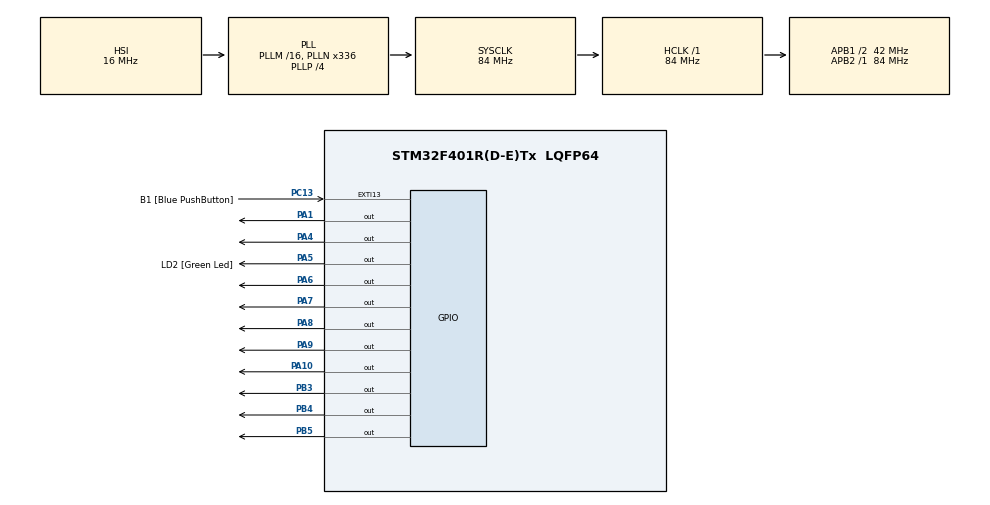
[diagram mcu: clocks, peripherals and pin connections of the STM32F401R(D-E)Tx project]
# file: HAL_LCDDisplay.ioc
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Mcu.Family=STM32F4
Mcu.Name=STM32F401R(D-E)Tx
Mcu.Package=LQFP64
NVIC.EXTI15_10_IRQn=true\:0\:0\:false\:false\:true\:true\:true\:true
NVIC.PriorityGroup=NVIC_PRIORITYGROUP_0
PA1.Signal=GPIO_Output
PA10.Signal=GPIO_Output
PA13.GPIO_Label=TMS
PA13.Signal=SYS_JTMS-SWDIO
PA14.GPIO_Label=TCK
PA14.Signal=SYS_JTCK-SWCLK
PA4.Signal=GPIO_Output
PA5.GPIO_Label=LD2 [Green Led]
PA5.GPIO_Mode=GPIO_MODE_OUTPUT_PP
PA5.GPIO_PuPd=GPIO_NOPULL
PA5.GPIO_Speed=GPIO_SPEED_FREQ_LOW
PA5.Signal=GPIO_Output
PA6.Signal=GPIO_Output
PA7.Signal=GPIO_Output
PA8.Signal=GPIO_Output
PA9.Signal=GPIO_Output
PB3.Signal=GPIO_Output
PB4.Signal=GPIO_Output
PB5.Signal=GPIO_Output
PC13-ANTI_TAMP.GPIO_Label=B1 [Blue PushButton]
PC13-ANTI_TAMP.GPIO_ModeDefaultEXTI=GPIO_MODE_IT_FALLING
PC13-ANTI_TAMP.GPIO_PuPd=GPIO_NOPULL
PC13-ANTI_TAMP.Signal=GPXTI13
PC14-OSC32_IN.Signal=RCC_OSC32_IN
PC15-OSC32_OUT.Signal=RCC_OSC32_OUT
PH0\ -\ OSC_IN.Signal=RCC_OSC_IN
PH1\ -\ OSC_OUT.Signal=RCC_OSC_OUT
ProjectManager.HeapSize=0x200
ProjectManager.StackSize=0x400
ProjectManager.TargetToolchain=STM32CubeIDE
RCC.AHBFreq_Value=84000000
RCC.APB1CLKDivider=RCC_HCLK_DIV2
RCC.APB1Freq_Value=42000000
RCC.APB1TimFreq_Value=84000000
RCC.APB2Freq_Value=84000000
RCC.APB2TimFreq_Value=84000000
RCC.CortexFreq_Value=84000000
RCC.HCLKFreq_Value=84000000
RCC.HSE_VALUE=8000000
RCC.HSI_VALUE=16000000
RCC.LSE_VALUE=32768
RCC.PLLN=336
RCC.PLLP=RCC_PLLP_DIV4
RCC.PLLQ=7
RCC.SYSCLKFreq_VALUE=84000000
RCC.SYSCLKSource=RCC_SYSCLKSOURCE_PLLCLK
RCC.VCOOutputFreq_Value=336000000
board=NUCLEO-F401RE

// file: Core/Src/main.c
/* USER CODE BEGIN Header */
/**
  ******************************************************************************
  * @file           : main.c
  * @brief          : Main program body
  ******************************************************************************
  * @attention
  *
  * Copyright (c) 2023 STMicroelectronics.
  * All rights reserved.
  *
  * This software is licensed under terms that can be found in the LICENSE file
  * in the root directory of this software component.
  * If no LICENSE file comes with this software, it is provided AS-IS.
  *
  ******************************************************************************
  */
/* USER CODE END Header */
#include "main.h"

/* USER CODE BEGIN Includes */
#include "LCD_Lib.h"
/* USER CODE END Includes */

void SystemClock_Config(void);
static void MX_GPIO_Init(void);

/* USER CODE BEGIN 0 */
void disablePin()
{
	HAL_GPIO_WritePin(GPIOA, D0_PIN, 0);
	HAL_GPIO_WritePin(GPIOA, D1_PIN, 0);
	HAL_GPIO_WritePin(GPIOA, D2_PIN, 0);
	HAL_GPIO_WritePin(GPIOA, D3_PIN, 0);
	HAL_GPIO_WritePin(GPIOA, D4_PIN, 0);
	HAL_GPIO_WritePin(GPIOA, D5_PIN, 0);
	HAL_GPIO_WritePin(GPIOA, D6_PIN, 0);
	HAL_GPIO_WritePin(GPIOA, D7_PIN, 0);

	HAL_GPIO_WritePin(GPIOB, RS, 0);
	HAL_GPIO_WritePin(GPIOB, RW, 0);
	HAL_GPIO_WritePin(GPIOB, En, 0);
}
/* USER CODE END 0 */

int main(void)
{

  /* MCU Configuration--------------------------------------------------------*/

  /* Reset of all peripherals, Initializes the Flash interface and the Systick. */
  HAL_Init();

  /* Configure the system clock */
  SystemClock_Config();

  /* Initialize all configured peripherals */
  MX_GPIO_Init();
  /* USER CODE BEGIN 2 */
  disablePin();
  /* USER CODE END 2 */

  /* Infinite loop */
  /* USER CODE BEGIN WHILE */
//  HAL_GPIO_WritePin(MANAGE_PORT, RW, 1);
//  HAL_GPIO_WritePin(MANAGE_PORT, RS, 1);

//  HAL_GPIO_WritePin(GPIOB, GPIO_PIN_5, 1);//because pin is invert
  init_8bit_interface();
  HAL_Delay(10);
//  sendBite(0x02);
//  sendBite(0b11111111);
  while (1)
  {

	  sendData('H');
	  HAL_Delay(2000);
//	  strub();

//	  sendBite(0x30);

//	 HAL_UART_Transmit(&huart1, &a, 1, HAL_MAX_DELAY);
    /* USER CODE END WHILE */

  }
}

void SystemClock_Config(void)
{
  RCC_OscInitTypeDef RCC_OscInitStruct = {0};
  RCC_ClkInitTypeDef RCC_ClkInitStruct = {0};

  /** Configure the main internal regulator output voltage
  */
  __HAL_RCC_PWR_CLK_ENABLE();
  __HAL_PWR_VOLTAGESCALING_CONFIG(PWR_REGULATOR_VOLTAGE_SCALE2);

  /** Initializes the RCC Oscillators according to the specified parameters
  * in the RCC_OscInitTypeDef structure.
  */
  RCC_OscInitStruct.OscillatorType = RCC_OSCILLATORTYPE_HSI;
  RCC_OscInitStruct.HSIState = RCC_HSI_ON;
  RCC_OscInitStruct.HSICalibrationValue = RCC_HSICALIBRATION_DEFAULT;
  RCC_OscInitStruct.PLL.PLLState = RCC_PLL_ON;
  RCC_OscInitStruct.PLL.PLLSource = RCC_PLLSOURCE_HSI;
  RCC_OscInitStruct.PLL.PLLM = 16;
  RCC_OscInitStruct.PLL.PLLN = 336;
  RCC_OscInitStruct.PLL.PLLP = RCC_PLLP_DIV4;
  RCC_OscInitStruct.PLL.PLLQ = 7;
  if (HAL_RCC_OscConfig(&RCC_OscInitStruct) != HAL_OK)
  {
    Error_Handler();
  }

  /** Initializes the CPU, AHB and APB buses clocks
  */
  RCC_ClkInitStruct.ClockType = RCC_CLOCKTYPE_HCLK|RCC_CLOCKTYPE_SYSCLK
                              |RCC_CLOCKTYPE_PCLK1|RCC_CLOCKTYPE_PCLK2;
  RCC_ClkInitStruct.SYSCLKSource = RCC_SYSCLKSOURCE_PLLCLK;
  RCC_ClkInitStruct.AHBCLKDivider = RCC_SYSCLK_DIV1;
  RCC_ClkInitStruct.APB1CLKDivider = RCC_HCLK_DIV2;
  RCC_ClkInitStruct.APB2CLKDivider = RCC_HCLK_DIV1;

  if (HAL_RCC_ClockConfig(&RCC_ClkInitStruct, FLASH_LATENCY_2) != HAL_OK)
  {
    Error_Handler();
  }
}

static void MX_GPIO_Init(void)
{
  GPIO_InitTypeDef GPIO_InitStruct = {0};

  /* GPIO Ports Clock Enable */
  __HAL_RCC_GPIOC_CLK_ENABLE();
  __HAL_RCC_GPIOH_CLK_ENABLE();
  __HAL_RCC_GPIOA_CLK_ENABLE();
  __HAL_RCC_GPIOB_CLK_ENABLE();

  /*Configure GPIO pin Output Level */
  HAL_GPIO_WritePin(GPIOA, GPIO_PIN_1|GPIO_PIN_4|LD2_Pin|GPIO_PIN_6
                          |GPIO_PIN_7|GPIO_PIN_8|GPIO_PIN_9|GPIO_PIN_10, GPIO_PIN_RESET);

  /*Configure GPIO pin Output Level */
  HAL_GPIO_WritePin(GPIOB, GPIO_PIN_3|GPIO_PIN_4|GPIO_PIN_5, GPIO_PIN_RESET);

  /*Configure GPIO pin : B1_Pin */
  GPIO_InitStruct.Pin = B1_Pin;
  GPIO_InitStruct.Mode = GPIO_MODE_IT_FALLING;
  GPIO_InitStruct.Pull = GPIO_NOPULL;
  HAL_GPIO_Init(B1_GPIO_Port, &GPIO_InitStruct);

  /*Configure GPIO pins : PA1 PA4 LD2_Pin PA6
                           PA7 PA8 PA9 PA10 */
  GPIO_InitStruct.Pin = GPIO_PIN_1|GPIO_PIN_4|LD2_Pin|GPIO_PIN_6
                          |GPIO_PIN_7|GPIO_PIN_8|GPIO_PIN_9|GPIO_PIN_10;
  GPIO_InitStruct.Mode = GPIO_MODE_OUTPUT_PP;
  GPIO_InitStruct.Pull = GPIO_NOPULL;
  GPIO_InitStruct.Speed = GPIO_SPEED_FREQ_LOW;
  HAL_GPIO_Init(GPIOA, &GPIO_InitStruct);

  /*Configure GPIO pins : PB3 PB4 PB5 */
  GPIO_InitStruct.Pin = GPIO_PIN_3|GPIO_PIN_4|GPIO_PIN_5;
  GPIO_InitStruct.Mode = GPIO_MODE_OUTPUT_PP;
  GPIO_InitStruct.Pull = GPIO_NOPULL;
  GPIO_InitStruct.Speed = GPIO_SPEED_FREQ_LOW;
  HAL_GPIO_Init(GPIOB, &GPIO_InitStruct);

  /* EXTI interrupt init*/
  HAL_NVIC_SetPriority(EXTI15_10_IRQn, 0, 0);
  HAL_NVIC_EnableIRQ(EXTI15_10_IRQn);

}

void Error_Handler(void)
{
  __disable_irq();
  while (1)
  {
  }
}
